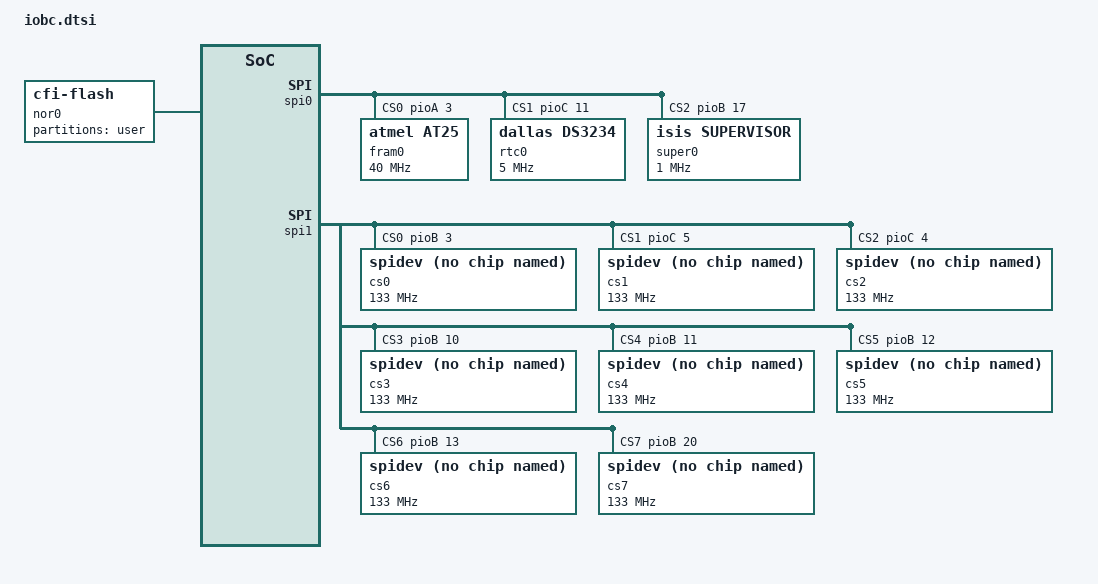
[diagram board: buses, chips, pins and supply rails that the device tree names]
/*
 * iobc.dtsi - Device tree include file for proprietary features of Kubos Linux on the ISIS OBC
 *
 * Copyright (C) 2017 Kubos Corporation
 *
 * Licensed under the Apache License, Version 2.0 (the "License");
 * you may not use this file except in compliance with the License.
 * You may obtain a copy of the License at
 *
 *     http://www.apache.org/licenses/LICENSE-2.0
 *
 * Unless required by applicable law or agreed to in writing, software
 * distributed under the License is distributed on an "AS IS" BASIS,
 * WITHOUT WARRANTIES OR CONDITIONS OF ANY KIND, either express or implied.
 * See the License for the specific language governing permissions and
 * limitations under the License.
 * 
 * Author: Catherine Garabedian <catherine@kubos.co>
 *
 */

/ {
	ahb {
		apb {
			pinctrl@fffff400 {
				spi0_cs {
					pinctrl_spi0_cs: spi0-cs {
						atmel,pins =
							<AT91_PIOA 3  AT91_PERIPH_A AT91_PINCTRL_PULL_UP
							 AT91_PIOC 11  AT91_PERIPH_B AT91_PINCTRL_PULL_UP
							 AT91_PIOB 17 AT91_PERIPH_GPIO AT91_PINCTRL_PULL_UP>;
					};
				};

				spi1_cs {
					pinctrl_spi1_cs_add: spi1-cs-add {
						atmel,pins =
							<AT91_PIOB 10 AT91_PERIPH_GPIO AT91_PINCTRL_PULL_UP
							 AT91_PIOB 11 AT91_PERIPH_GPIO AT91_PINCTRL_PULL_UP
							 AT91_PIOB 12 AT91_PERIPH_GPIO AT91_PINCTRL_PULL_UP
							 AT91_PIOB 13 AT91_PERIPH_GPIO AT91_PINCTRL_PULL_UP
							 AT91_PIOB 20 AT91_PERIPH_GPIO AT91_PINCTRL_PULL_UP>;
					};
				}; 
			};

			spi0: spi@fffc8000 {
				pinctrl-0 = <&pinctrl_spi0 &pinctrl_spi0_cs>;
				cs-gpios = <&pioA 3 0>, <&pioC 11 0>, <&pioB 17 0>;
				status = "okay";
				fram0: fram@0 {
					compatible = "atmel,at25","spidev";
					reg = <0>;
					spi-max-frequency = <40000000>;

					at25,byte-len = <262144>;
					at25,addr-mode = <4>;           /* 24-bit Addr flag bit */
					at25,page-size = <65535>;      /* FRAM doesn't have pages. Using max value */

					status = "okay";
				};
				rtc0: ds3234@0 {
					compatible = "dallas,ds3234";
					reg = <1>;
					spi-max-frequency = <5000000>;
					status = "okay";
				};
				super0: super@0 {
					compatible = "isis,supervisor";
					reg = <2>;
					spi-max-frequency = <1000000>;
					status = "okay";
				};
			};

			spi1: spi@fffcc000 {
				pinctrl-0 = <&pinctrl_spi1 &pinctrl_spi1_cs &pinctrl_spi1_cs_add>;
				cs-gpios = <&pioB 3 0>, <&pioC 5 0>, <&pioC 4 0>, <&pioB 10 0>, <&pioB 11 0>, <&pioB 12 0>, <&pioB 13 0>, <&pioB 20 0>;
				status = "okay";
				cs0@0 {
					compatible = "spidev";
					reg = <0>;
					spi-max-frequency = <133000000>;
					status = "okay";
				};
				cs1@0 {
					compatible = "spidev";
					reg = <1>;
					spi-max-frequency = <133000000>;
					status = "okay";
				};
				cs2@0 {
					compatible = "spidev";
					reg = <2>;
					spi-max-frequency = <133000000>;
					status = "okay";
				};
				cs3@0 {
					compatible = "spidev";
					reg = <3>;
					spi-max-frequency = <133000000>;
					status = "okay";
				};
				cs4@0 {
					compatible = "spidev";
					reg = <4>;
					spi-max-frequency = <133000000>;
					status = "okay";
				};
				cs5@0 {
					compatible = "spidev";
					reg = <5>;
					spi-max-frequency = <133000000>;
					status = "okay";
				};
				cs6@0 {
					compatible = "spidev";
					reg = <6>;
					spi-max-frequency = <133000000>;
					status = "okay";
				};
				cs7@0 {
					compatible = "spidev";
					reg = <7>;
					spi-max-frequency = <133000000>;
					status = "okay";
				};
			};
		};

		nor0: nor_flash@10000000 {
			compatible = "cfi-flash";
			reg = <0x10000000 0x100000>;
			linux,mtd-name = "iobc-flash";
			linux,part-probe = "ofpart";
			bank-width = <2>;
			#address-cells = <1>;
			#size-cells = <1>;

			partition@90000 {
				label = "user";
				reg = <0x90000 0x70000>;
			};
		};
	};
};
